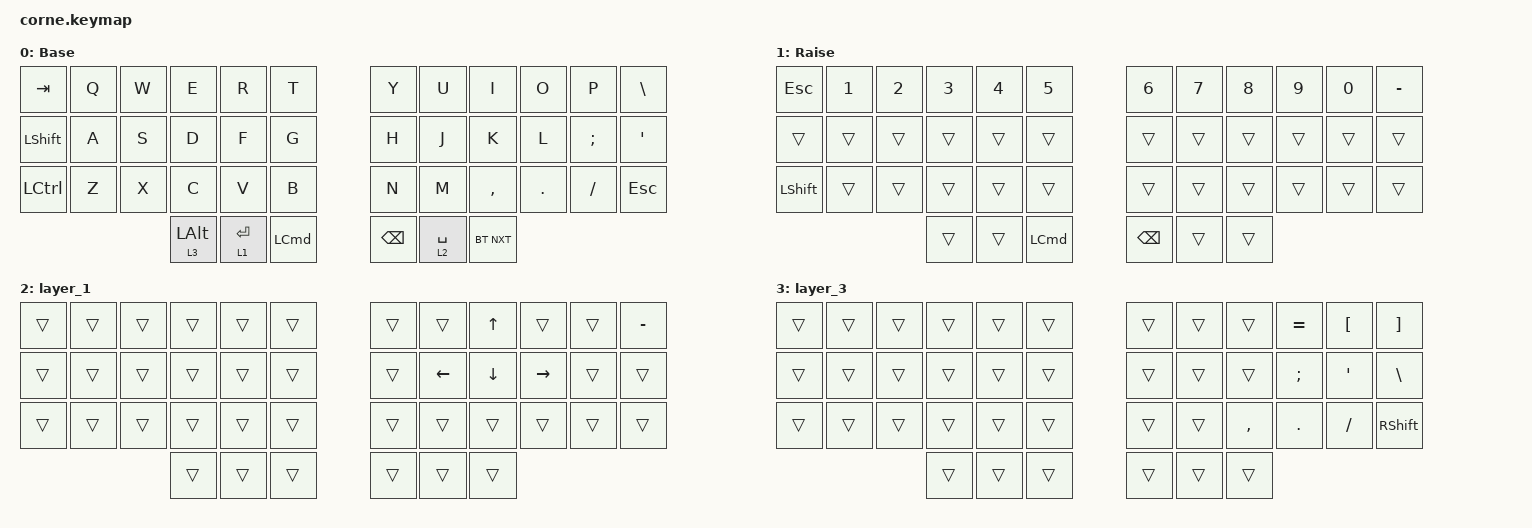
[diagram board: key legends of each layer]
/*
 * Copyright (c) 2020 The ZMK Contributors
 *
 * SPDX-License-Identifier: MIT
 */

#include <behaviors.dtsi>
#include <dt-bindings/zmk/bt.h>
#include <dt-bindings/zmk/keys.h>

/ {
    keymap {
        compatible = "zmk,keymap";

        default_layer {
            // -----------------------------------------------------------------------------------------
            // |  TAB |  Q  |  W  |  E  |  R  |  T  |   |  Y  |  U   |  I  |  O  |  P  | BKSP |
            // | CTRL |  A  |  S  |  D  |  F  |  G  |   |  H  |  J   |  K  |  L  |  ;  |  '   |
            // | SHFT |  Z  |  X  |  C  |  V  |  B  |   |  N  |  M   |  ,  |  .  |  /  | ESC  |
            //                    | GUI | LWR | SPC |   | ENT | RSE  | ALT |

            display-name = "Base";
            bindings = <
&kp TAB           &kp Q  &kp W  &kp E           &kp R        &kp T               &kp Y          &kp U        &kp I       &kp O    &kp P     &kp BACKSLASH
&kp LEFT_SHIFT    &kp A  &kp S  &kp D           &kp F        &kp G               &kp H          &kp J        &kp K       &kp L    &kp SEMI  &kp SQT
&kp LEFT_CONTROL  &kp Z  &kp X  &kp C           &kp V        &kp B               &kp N          &kp M        &kp COMMA   &kp DOT  &kp FSLH  &kp ESC
                                &lt 3 LEFT_ALT  &lt 1 ENTER  &kp LEFT_COMMAND    &kp BACKSPACE  &lt 2 SPACE  &bt BT_NXT
            >;
        };

        raise_layer {
            // -----------------------------------------------------------------------------------------
            // |  TAB |  !  |  @  |  #  |  $  |  %  |   |  ^  |  &  |  *  |  (  |  )  | BKSP |
            // | CTRL |     |     |     |     |     |   |  -  |  =  |  [  |  ]  |  \  |  `   |
            // | SHFT |     |     |     |     |     |   |  _  |  +  |  {  |  }  | "|" |  ~   |
            //                    | GUI |     | SPC |   | ENT |     | ALT |

            display-name = "Raise";
            bindings = <
&kp ESC    &kp N1  &kp N2  &kp N3  &kp N4  &kp N5              &kp N6         &kp N7  &kp N8  &kp N9  &kp N0  &kp MINUS
&trans     &trans  &trans  &trans  &trans  &trans              &trans         &trans  &trans  &trans  &trans  &trans
&kp LSHFT  &trans  &trans  &trans  &trans  &trans              &trans         &trans  &trans  &trans  &trans  &trans
                           &trans  &trans  &kp LEFT_COMMAND    &kp BACKSPACE  &trans  &trans
            >;
        };

        layer_1 {
            bindings = <
&trans  &trans  &trans  &trans  &trans  &trans    &trans  &trans    &kp UP    &trans     &trans  &kp MINUS
&trans  &trans  &trans  &trans  &trans  &trans    &trans  &kp LEFT  &kp DOWN  &kp RIGHT  &trans  &trans
&trans  &trans  &trans  &trans  &trans  &trans    &trans  &trans    &trans    &trans     &trans  &trans
                        &trans  &trans  &trans    &trans  &trans    &trans
            >;
        };

        layer_3 {
            bindings = <
&trans  &trans  &trans  &trans  &trans  &trans    &trans  &trans  &trans     &kp EQUAL  &kp LBKT  &kp RBKT
&trans  &trans  &trans  &trans  &trans  &trans    &trans  &trans  &trans     &kp SEMI   &kp SQT   &kp BSLH
&trans  &trans  &trans  &trans  &trans  &trans    &trans  &trans  &kp COMMA  &kp DOT    &kp FSLH  &kp RSHFT
                        &trans  &trans  &trans    &trans  &trans  &trans
            >;
        };
    };
};
